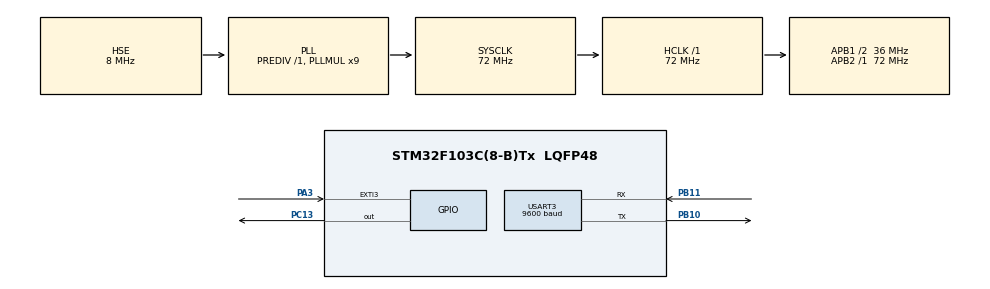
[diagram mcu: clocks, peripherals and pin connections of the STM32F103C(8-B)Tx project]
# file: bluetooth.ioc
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Dma.Request0=USART3_RX
Dma.Request1=USART3_TX
Dma.USART3_RX.0.Direction=DMA_PERIPH_TO_MEMORY
Dma.USART3_RX.0.Instance=DMA1_Channel3
Dma.USART3_RX.0.MemDataAlignment=DMA_MDATAALIGN_BYTE
Dma.USART3_RX.0.MemInc=DMA_MINC_ENABLE
Dma.USART3_RX.0.Mode=DMA_NORMAL
Dma.USART3_RX.0.PeriphDataAlignment=DMA_PDATAALIGN_BYTE
Dma.USART3_RX.0.PeriphInc=DMA_PINC_DISABLE
Dma.USART3_RX.0.Priority=DMA_PRIORITY_LOW
Dma.USART3_TX.1.Direction=DMA_MEMORY_TO_PERIPH
Dma.USART3_TX.1.Instance=DMA1_Channel2
Dma.USART3_TX.1.MemDataAlignment=DMA_MDATAALIGN_BYTE
Dma.USART3_TX.1.MemInc=DMA_MINC_ENABLE
Dma.USART3_TX.1.Mode=DMA_NORMAL
Dma.USART3_TX.1.PeriphDataAlignment=DMA_PDATAALIGN_BYTE
Dma.USART3_TX.1.PeriphInc=DMA_PINC_DISABLE
Dma.USART3_TX.1.Priority=DMA_PRIORITY_LOW
Mcu.Family=STM32F1
Mcu.Name=STM32F103C(8-B)Tx
Mcu.Package=LQFP48
NVIC.DMA1_Channel2_IRQn=true\:0\:0\:false\:false\:true\:false\:true\:true
NVIC.DMA1_Channel3_IRQn=true\:0\:0\:false\:false\:true\:false\:true\:true
NVIC.EXTI3_IRQn=true\:0\:0\:false\:false\:true\:true\:true\:true
NVIC.PriorityGroup=NVIC_PRIORITYGROUP_4
NVIC.USART3_IRQn=true\:0\:0\:false\:false\:true\:true\:true\:true
PA13.Mode=Serial_Wire
PA13.Signal=SYS_JTMS-SWDIO
PA14.Mode=Serial_Wire
PA14.Signal=SYS_JTCK-SWCLK
PA3.GPIO_ModeDefaultEXTI=GPIO_MODE_IT_FALLING
PA3.GPIO_PuPd=GPIO_PULLUP
PA3.Signal=GPXTI3
PB10.Mode=Asynchronous
PB10.Signal=USART3_TX
PB11.Mode=Asynchronous
PB11.Signal=USART3_RX
PC13-TAMPER-RTC.Signal=GPIO_Output
PD0-OSC_IN.Mode=HSE-External-Oscillator
PD0-OSC_IN.Signal=RCC_OSC_IN
PD1-OSC_OUT.Mode=HSE-External-Oscillator
PD1-OSC_OUT.Signal=RCC_OSC_OUT
ProjectManager.HeapSize=0x200
ProjectManager.StackSize=0x400
ProjectManager.TargetToolchain=MDK-ARM V5
RCC.AHBFreq_Value=72000000
RCC.APB1CLKDivider=RCC_HCLK_DIV2
RCC.APB1Freq_Value=36000000
RCC.APB1TimFreq_Value=72000000
RCC.APB2Freq_Value=72000000
RCC.APB2TimFreq_Value=72000000
RCC.HCLKFreq_Value=72000000
RCC.PLLMUL=RCC_PLL_MUL9
RCC.PLLSourceVirtual=RCC_PLLSOURCE_HSE
RCC.SYSCLKFreq_VALUE=72000000
RCC.SYSCLKSource=RCC_SYSCLKSOURCE_PLLCLK
RCC.USBFreq_Value=72000000
USART3.BaudRate=9600
USART3.VirtualMode=VM_ASYNC
board=custom

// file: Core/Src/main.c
/* USER CODE BEGIN Header */
/**
  ******************************************************************************
  * @file           : main.c
  * @brief          : Main program body
  ******************************************************************************
  * @attention
  *
  * Copyright (c) 2022 STMicroelectronics.
  * All rights reserved.
  *
  * This software is licensed under terms that can be found in the LICENSE file
  * in the root directory of this software component.
  * If no LICENSE file comes with this software, it is provided AS-IS.
  *
  ******************************************************************************
  */
/* USER CODE END Header */
#include "main.h"
#include "dma.h"
#include "usart.h"
#include "gpio.h"

/* USER CODE BEGIN Includes */
#include "stdio.h"
#include <string.h>

/* USER CODE END Includes */

/* USER CODE BEGIN PTD */
void Usart_SendString(uint8_t *str)//发送字符串
{
	uint32_t k = 0;
	do
	{
		HAL_UART_Transmit(&huart3,(uint8_t *)(str + k),1,1000);
		k++;
	}while(*(str + k) !='\0');
}
int fputc(int ch,FILE *f)
{
	uint8_t temp[1] = {ch};
	HAL_UART_Transmit(&huart3, temp, 1,1000);
	return ch;
}
int fgetc(FILE *f)
{
	uint8_t ch=0;
	HAL_UART_Receive(&huart3 ,(uint8_t *)&ch,1,1000);
	return ch;
}
/* USER CODE END PTD */

/* USER CODE BEGIN PM */
extern DMA_HandleTypeDef hdma_usart3_rx;
extern DMA_HandleTypeDef hdma_usart3_tx;
extern UART_HandleTypeDef huart1;

/* USER CODE END PM */

/* USER CODE BEGIN PV */
uint8_t receive_buff[255];
  uint8_t flag[2];
	uint8_t flag1[1];
	uint8_t data[20];
	uint8_t temp[] = {0};
	uint32_t Buffer[16] = {0X00000000,0X11111111,0X022222222,0X033333333,0X044444444,0X055555555,0X066666666,0X077777777,0X88888888,0X99999999,0XAAAAAAAA,0XBBBBBBBB,0XCCCCCCCC,0XDDDDDDDD,0XEEEEEEEE,0XFFFFFFFF};
	uint32_t Buf[16];

	uint8_t Buffer_1[8] = {0X00,0X01,0X02,0X03,0X04,0X05,0X06,0X07};
	uint8_t Buf_1[8];
	 uint8_t Buf_2[10],a;
#define  BUFFER_SIZE  (255)
	#define RXBUFFERSIZE  1024
uint8_t aRxBuffer[RXBUFFERSIZE];
/* USER CODE END PV */

void SystemClock_Config(void);

/* USER CODE BEGIN 0 */
 void delay(int m)
 {
	 while(m)
	 {
	    m--;
	 }
 }
/* USER CODE END 0 */

int main(void)
{

  /* MCU Configuration--------------------------------------------------------*/

  /* Reset of all peripherals, Initializes the Flash interface and the Systick. */
  HAL_Init();

  /* Configure the system clock */
  SystemClock_Config();

  /* Initialize all configured peripherals */
  MX_GPIO_Init();
  MX_DMA_Init();
  MX_USART3_UART_Init();
  /* USER CODE BEGIN 2 */
//		HAL_UART_Receive_IT(&huart3,flag,1);
   __HAL_UART_ENABLE_IT(&huart3,UART_IT_IDLE);//空闲中断使能
	 HAL_UART_Receive_DMA(&huart3, (uint8_t*)receive_buff, 255);
  /* USER CODE END 2 */

  /* Infinite loop */
  while (1)
  {

  }
}

void SystemClock_Config(void)
{
  RCC_OscInitTypeDef RCC_OscInitStruct = {0};
  RCC_ClkInitTypeDef RCC_ClkInitStruct = {0};

  /** Initializes the RCC Oscillators according to the specified parameters
  * in the RCC_OscInitTypeDef structure.
  */
  RCC_OscInitStruct.OscillatorType = RCC_OSCILLATORTYPE_HSE;
  RCC_OscInitStruct.HSEState = RCC_HSE_ON;
  RCC_OscInitStruct.HSEPredivValue = RCC_HSE_PREDIV_DIV1;
  RCC_OscInitStruct.HSIState = RCC_HSI_ON;
  RCC_OscInitStruct.PLL.PLLState = RCC_PLL_ON;
  RCC_OscInitStruct.PLL.PLLSource = RCC_PLLSOURCE_HSE;
  RCC_OscInitStruct.PLL.PLLMUL = RCC_PLL_MUL9;
  if (HAL_RCC_OscConfig(&RCC_OscInitStruct) != HAL_OK)
  {
    Error_Handler();
  }

  /** Initializes the CPU, AHB and APB buses clocks
  */
  RCC_ClkInitStruct.ClockType = RCC_CLOCKTYPE_HCLK|RCC_CLOCKTYPE_SYSCLK
                              |RCC_CLOCKTYPE_PCLK1|RCC_CLOCKTYPE_PCLK2;
  RCC_ClkInitStruct.SYSCLKSource = RCC_SYSCLKSOURCE_PLLCLK;
  RCC_ClkInitStruct.AHBCLKDivider = RCC_SYSCLK_DIV1;
  RCC_ClkInitStruct.APB1CLKDivider = RCC_HCLK_DIV2;
  RCC_ClkInitStruct.APB2CLKDivider = RCC_HCLK_DIV1;

  if (HAL_RCC_ClockConfig(&RCC_ClkInitStruct, FLASH_LATENCY_2) != HAL_OK)
  {
    Error_Handler();
  }
}

/* USER CODE BEGIN 4 */
void HAL_GPIO_EXTI_Callback(uint16_t GPIO_pin)
{
	if(GPIO_PIN_3 == GPIO_pin)
	{

		if(HAL_GPIO_ReadPin(GPIOA,GPIO_PIN_3) == GPIO_PIN_RESET)
		{
			delay(100);//按键消抖

			if(HAL_GPIO_ReadPin(GPIOA,GPIO_PIN_3) == GPIO_PIN_RESET)
		{
			HAL_GPIO_TogglePin(GPIOC,GPIO_PIN_13);

		}
		}

	}
}

// void HAL_UART_RxCpltCallback(UART_HandleTypeDef *huart)
//{
//	  #if 1  //条件编译
//		if(huart->Instance==USART3)
//		{
//      HAL_UART_Receive(&huart3, data, 4, 1000);//串口接收函数   不要点发送新行
//			HAL_UART_Transmit(&huart3,data, 4,1000);//串口发送函数
//
//		}
//		printf("\r\nstm32\r\n");
//
//		HAL_UART_Receive_IT(&huart3,flag,1);//串口中断服务函数初始化  这个初始化函数吃发送的数据的前1个  剩下的留给接收函数接收
//		#endif  //条件编译
//	}

void HAL_UART_IDLECallback(UART_HandleTypeDef *huart)
{

	if(huart->Instance==USART3)
 {
    HAL_UART_DMAStop(&huart3);                                                     //停止本次DMA传输

    uint8_t data_length  = BUFFER_SIZE -   __HAL_DMA_GET_COUNTER(&hdma_usart3_rx);

    printf("Receive Data(length = %d): ",data_length);

    HAL_UART_Transmit(&huart3,(uint8_t *)receive_buff,data_length,1000);                       //测试函数：将接收到的数据打印出去
    printf("\r\n");

    memset(receive_buff,0,data_length);                                            //清零接收缓冲区
    data_length = 0;
    HAL_UART_Receive_DMA(&huart3, (uint8_t*)receive_buff, 255);                    //重启开始DMA传输 每次255字节数据

 }
}
/* USER CODE END 4 */

void Error_Handler(void)
{
  __disable_irq();
  while (1)
  {
  }
}
